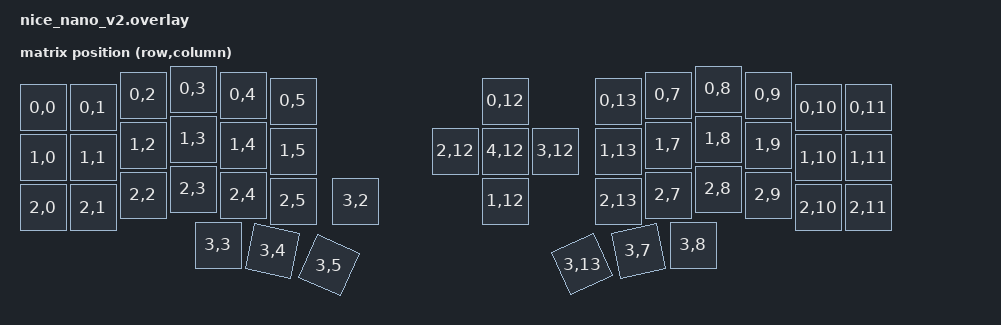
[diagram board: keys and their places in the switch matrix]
#include <physical_layouts.dtsi>
#include <dt-bindings/zmk/matrix_transform.h>

&i2c0 {
    status = "okay";

    oled: sh1106@3c {
        compatible = "sinowealth,sh1106";
        reg = <0x3c>;
        width = <129>;
        height = <64>;
        segment-offset = <1>;
        page-offset = <0>;
        display-offset = <0>;
        multiplex-ratio = <63>;
        segment-remap;
        com-invdir;
        inversion-on;
        prechargep = <0x22>;
    };
};

/ {
    chosen {
        zmk,kscan = &mock_kscan;
        zmk,matrix-transform = &default_transform;
        zmk,physical-layout = &default_layout;
        zephyr,display = &oled;
    };

    mock_kscan: kscan {
        compatible = "zmk,kscan-mock";
        events = <0>;
    };

    default_transform: keymap_transform_0 {
        compatible = "zmk,matrix-transform";
        columns = <14>;
        rows = <5>;
        map = <
            RC(0,0) RC(0,1) RC(0,2) RC(0,3) RC(0,4) RC(0,5)                      RC(0,12)           RC(0,13) RC(0,7) RC(0,8) RC(0,9) RC(0,10) RC(0,11)
            RC(1,0) RC(1,1) RC(1,2) RC(1,3) RC(1,4) RC(1,5)             RC(2,12) RC(4,12) RC(3,12)  RC(1,13) RC(1,7) RC(1,8) RC(1,9) RC(1,10) RC(1,11)
            RC(2,0) RC(2,1) RC(2,2) RC(2,3) RC(2,4) RC(2,5) RC(3,2)              RC(1,12)           RC(2,13) RC(2,7) RC(2,8) RC(2,9) RC(2,10) RC(2,11)
                                    RC(3,3) RC(3,4) RC(3,5)                                         RC(3,13) RC(3,7) RC(3,8)
        >;
    };

    default_layout: default_layout {
        compatible = "zmk,physical-layout";
        display-name = "Eyelash Corne";
        transform = <&default_transform>;
        keys
            = <&key_physical_attrs 100 100    0   37   0   0   0>
            , <&key_physical_attrs 100 100  100   37   0   0   0>
            , <&key_physical_attrs 100 100  200   12   0   0   0>
            , <&key_physical_attrs 100 100  300    0   0   0   0>
            , <&key_physical_attrs 100 100  400   12   0   0   0>
            , <&key_physical_attrs 100 100  500   24   0   0   0>
            , <&key_physical_attrs 100 100  925   24   0   0   0>
            , <&key_physical_attrs 100 100 1150   24   0   0   0>
            , <&key_physical_attrs 100 100 1250   12   0   0   0>
            , <&key_physical_attrs 100 100 1350    0   0   0   0>
            , <&key_physical_attrs 100 100 1450   12   0   0   0>
            , <&key_physical_attrs 100 100 1550   37   0   0   0>
            , <&key_physical_attrs 100 100 1650   37   0   0   0>
            , <&key_physical_attrs 100 100    0  137   0   0   0>
            , <&key_physical_attrs 100 100  100  137   0   0   0>
            , <&key_physical_attrs 100 100  200  112   0   0   0>
            , <&key_physical_attrs 100 100  300  100   0   0   0>
            , <&key_physical_attrs 100 100  400  112   0   0   0>
            , <&key_physical_attrs 100 100  500  124   0   0   0>
            , <&key_physical_attrs 100 100  825  124   0   0   0>
            , <&key_physical_attrs 100 100  925  124   0   0   0>
            , <&key_physical_attrs 100 100 1025  124   0   0   0>
            , <&key_physical_attrs 100 100 1150  124   0   0   0>
            , <&key_physical_attrs 100 100 1250  112   0   0   0>
            , <&key_physical_attrs 100 100 1350  100   0   0   0>
            , <&key_physical_attrs 100 100 1450  112   0   0   0>
            , <&key_physical_attrs 100 100 1550  137   0   0   0>
            , <&key_physical_attrs 100 100 1650  137   0   0   0>
            , <&key_physical_attrs 100 100    0  237   0   0   0>
            , <&key_physical_attrs 100 100  100  237   0   0   0>
            , <&key_physical_attrs 100 100  200  212   0   0   0>
            , <&key_physical_attrs 100 100  300  200   0   0   0>
            , <&key_physical_attrs 100 100  400  212   0   0   0>
            , <&key_physical_attrs 100 100  500  224   0   0   0>
            , <&key_physical_attrs 100 100  625  224   0   0   0>
            , <&key_physical_attrs 100 100  925  224   0   0   0>
            , <&key_physical_attrs 100 100 1150  224   0   0   0>
            , <&key_physical_attrs 100 100 1250  212   0   0   0>
            , <&key_physical_attrs 100 100 1350  200   0   0   0>
            , <&key_physical_attrs 100 100 1450  212   0   0   0>
            , <&key_physical_attrs 100 100 1550  237   0   0   0>
            , <&key_physical_attrs 100 100 1650  237   0   0   0>
            , <&key_physical_attrs 100 100  350  312   0   0   0>
            , <&key_physical_attrs 100 100  450  312   1200 450 412>
            , <&key_physical_attrs 100 100  550  312   2400 515 433>
            , <&key_physical_attrs 100 100 1100  312 (-2400) 1230 433>
            , <&key_physical_attrs 100 100 1200  312 (-1200) 1300 412>
            , <&key_physical_attrs 100 100 1300  312   0   0   0>
            ;
    };
};
